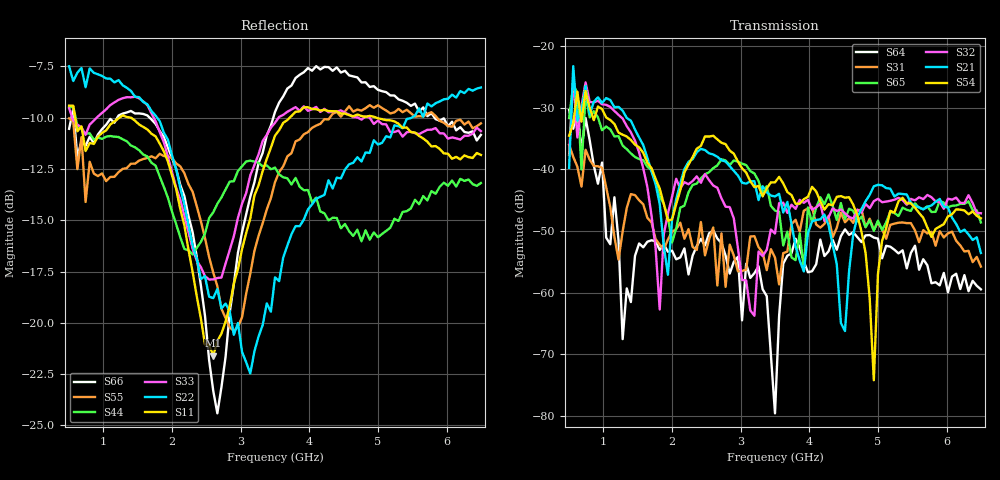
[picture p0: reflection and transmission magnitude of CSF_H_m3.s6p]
!Keysight Technologies,M9804A,MY58100912,A.14.10.03
!Date: Thursday, April 27, 2023 10:28:33
!Correction: S11(C  6-Port  )
!S12(C  6-Port  )
!S13(C  6-Port  )
!S14(C  6-Port  )
!S15(C  6-Port  )
!S16(C  6-Port  )
!S21(C  6-Port  )
!S22(C  6-Port  )
!S23(C  6-Port  )
!S24(C  6-Port  )
!S25(C  6-Port  )
!S26(C  6-Port  )
!S31(C  6-Port  )
!S32(C  6-Port  )
!S33(C  6-Port  )
!S34(C  6-Port  )
!S35(C  6-Port  )
!S36(C  6-Port  )
!S41(C  6-Port  )
!S42(C  6-Port  )
!S43(C  6-Port  )
!S44(C  6-Port  )
!S45(C  6-Port  )
!S46(C  6-Port  )
!S51(C  6-Port  )
!S52(C  6-Port  )
!S53(C  6-Port  )
!S54(C  6-Port  )
!S55(C  6-Port  )
!S56(C  6-Port  )
!S61(C  6-Port  )
!S62(C  6-Port  )
!S63(C  6-Port  )
!S64(C  6-Port  )
!S65(C  6-Port  )
!S66(C  6-Port  )
!S6P File: Measurement: :
# Hz S  RI  R 50
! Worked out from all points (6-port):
!   101 points, 500 MHz to 6.5 GHz, reference 50 ohm
!   strongest paths, dB at 500 MHz, 2 GHz, 3.5 GHz, 5 GHz, 6.5 GHz:
!     S54: -34.5, -48.1, -42.1, -57.0, -47.9
!     S21: -39.7, -48.1, -44.4, -42.5, -53.6
!     S32: -37.7, -44.4, -50.4, -44.8, -47.1
!     S65: -31.7, -51.9, -46.7, -48.3, -48.6
!     S31: -36.0, -50.1, -54.3, -48.6, -55.8
!     S64: -30.4, -53.2, -79.6, -51.2, -59.5
!   lowest |S11| = -21.6 dB at 2.6 GHz (marker M1), VSWR 1.18, Z = 42.6 + j2.05 ohm
!   |S11| at or under -10 dB: 588 MHz to 1.235 GHz (646.9 MHz wide, 71 % of centre); 1.4 GHz to 3.715 GHz (2.316 GHz wide, 90.5 % of centre); 4.975 GHz to end of sweep
